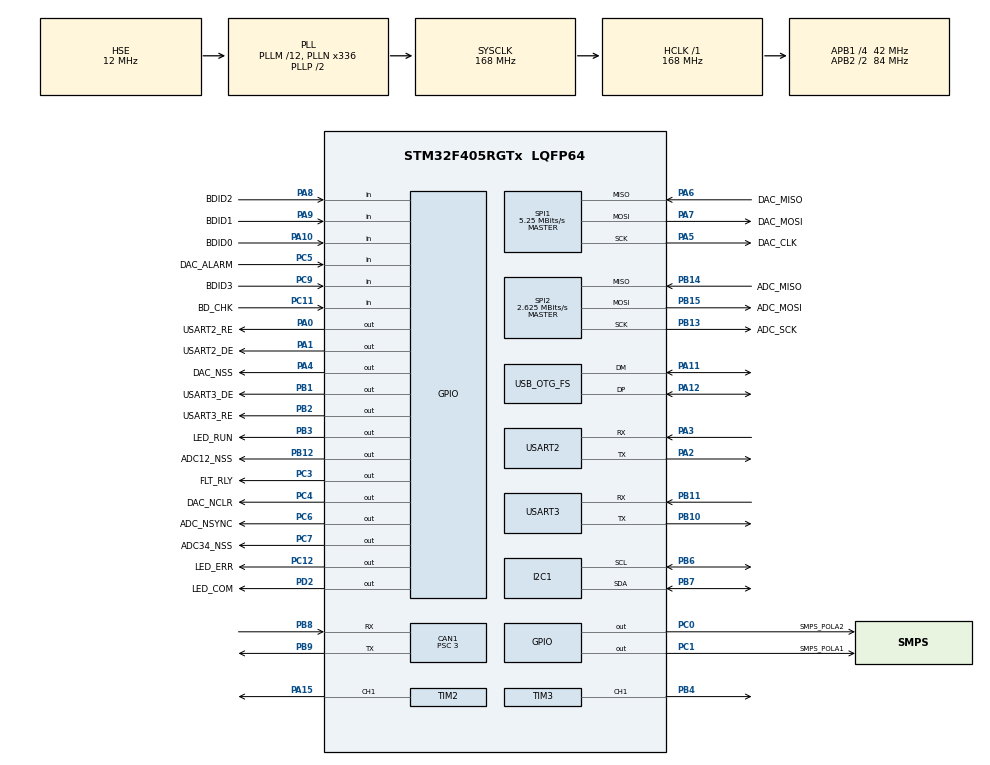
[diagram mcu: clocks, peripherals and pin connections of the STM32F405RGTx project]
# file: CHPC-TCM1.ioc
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ADC1.Channel-0\#ChannelRegularConversion=ADC_CHANNEL_TEMPSENSOR
ADC1.ContinuousConvMode=ENABLE
ADC1.DMAContinuousRequests=ENABLE
ADC1.EOCSelection=ADC_EOC_SEQ_CONV
ADC1.InjNumberOfConversion=0
ADC1.NbrOfConversionFlag=1
ADC1.Rank-0\#ChannelRegularConversion=1
ADC1.SamplingTime-0\#ChannelRegularConversion=ADC_SAMPLETIME_480CYCLES
ADC1.master=1
CAN1.ABOM=ENABLE
CAN1.AWUM=DISABLE
CAN1.BS1=CAN_BS1_11TQ
CAN1.BS2=CAN_BS2_2TQ
CAN1.CalculateBaudRate=1000000
CAN1.CalculateTimeBit=1000
CAN1.CalculateTimeQuantum=71.42857142857143
CAN1.NART=ENABLE
CAN1.Prescaler=3
CAN1.TTCM=DISABLE
Dma.ADC1.4.Direction=DMA_PERIPH_TO_MEMORY
Dma.ADC1.4.FIFOMode=DMA_FIFOMODE_DISABLE
Dma.ADC1.4.Instance=DMA2_Stream0
Dma.ADC1.4.MemDataAlignment=DMA_MDATAALIGN_HALFWORD
Dma.ADC1.4.MemInc=DMA_MINC_ENABLE
Dma.ADC1.4.Mode=DMA_CIRCULAR
Dma.ADC1.4.PeriphDataAlignment=DMA_PDATAALIGN_HALFWORD
Dma.ADC1.4.PeriphInc=DMA_PINC_DISABLE
Dma.ADC1.4.Priority=DMA_PRIORITY_LOW
Dma.Request0=USART2_RX
Dma.Request1=USART2_TX
Dma.Request2=USART3_RX
Dma.Request3=USART3_TX
Dma.Request4=ADC1
Dma.USART2_RX.0.Direction=DMA_PERIPH_TO_MEMORY
Dma.USART2_RX.0.FIFOMode=DMA_FIFOMODE_DISABLE
Dma.USART2_RX.0.Instance=DMA1_Stream5
Dma.USART2_RX.0.MemDataAlignment=DMA_MDATAALIGN_BYTE
Dma.USART2_RX.0.MemInc=DMA_MINC_ENABLE
Dma.USART2_RX.0.Mode=DMA_CIRCULAR
Dma.USART2_RX.0.PeriphDataAlignment=DMA_PDATAALIGN_BYTE
Dma.USART2_RX.0.PeriphInc=DMA_PINC_DISABLE
Dma.USART2_RX.0.Priority=DMA_PRIORITY_LOW
Dma.USART2_TX.1.Direction=DMA_MEMORY_TO_PERIPH
Dma.USART2_TX.1.FIFOMode=DMA_FIFOMODE_DISABLE
Dma.USART2_TX.1.Instance=DMA1_Stream6
Dma.USART2_TX.1.MemDataAlignment=DMA_MDATAALIGN_BYTE
Dma.USART2_TX.1.MemInc=DMA_MINC_ENABLE
Dma.USART2_TX.1.Mode=DMA_NORMAL
Dma.USART2_TX.1.PeriphDataAlignment=DMA_PDATAALIGN_BYTE
Dma.USART2_TX.1.PeriphInc=DMA_PINC_DISABLE
Dma.USART2_TX.1.Priority=DMA_PRIORITY_LOW
Dma.USART3_RX.2.Direction=DMA_PERIPH_TO_MEMORY
Dma.USART3_RX.2.FIFOMode=DMA_FIFOMODE_DISABLE
Dma.USART3_RX.2.Instance=DMA1_Stream1
Dma.USART3_RX.2.MemDataAlignment=DMA_MDATAALIGN_BYTE
Dma.USART3_RX.2.MemInc=DMA_MINC_ENABLE
Dma.USART3_RX.2.Mode=DMA_CIRCULAR
Dma.USART3_RX.2.PeriphDataAlignment=DMA_PDATAALIGN_BYTE
Dma.USART3_RX.2.PeriphInc=DMA_PINC_DISABLE
Dma.USART3_RX.2.Priority=DMA_PRIORITY_LOW
Dma.USART3_TX.3.Direction=DMA_MEMORY_TO_PERIPH
Dma.USART3_TX.3.FIFOMode=DMA_FIFOMODE_DISABLE
Dma.USART3_TX.3.Instance=DMA1_Stream3
Dma.USART3_TX.3.MemDataAlignment=DMA_MDATAALIGN_BYTE
Dma.USART3_TX.3.MemInc=DMA_MINC_ENABLE
Dma.USART3_TX.3.Mode=DMA_NORMAL
Dma.USART3_TX.3.PeriphDataAlignment=DMA_PDATAALIGN_BYTE
Dma.USART3_TX.3.PeriphInc=DMA_PINC_DISABLE
Dma.USART3_TX.3.Priority=DMA_PRIORITY_LOW
I2C1.DutyCycle=I2C_DUTYCYCLE_2
I2C1.I2C_Mode=I2C_Fast
IWDG.Prescaler=IWDG_PRESCALER_4
Mcu.Family=STM32F4
Mcu.Name=STM32F405RGTx
Mcu.Package=LQFP64
NVIC.CAN1_RX0_IRQn=true\:0\:0\:false\:false\:true\:true\:true\:true
NVIC.CAN1_SCE_IRQn=true\:0\:0\:false\:false\:true\:true\:true\:true
NVIC.DMA1_Stream1_IRQn=true\:0\:0\:false\:false\:true\:false\:true\:true
NVIC.DMA1_Stream3_IRQn=true\:0\:0\:false\:false\:true\:false\:true\:true
NVIC.DMA1_Stream5_IRQn=true\:0\:0\:false\:false\:true\:false\:true\:true
NVIC.DMA1_Stream6_IRQn=true\:0\:0\:false\:false\:true\:false\:true\:true
NVIC.DMA2_Stream0_IRQn=true\:0\:0\:false\:false\:true\:false\:true\:true
NVIC.OTG_FS_IRQn=true\:0\:0\:false\:false\:true\:false\:true\:true
NVIC.PriorityGroup=NVIC_PRIORITYGROUP_4
NVIC.SPI1_IRQn=true\:0\:0\:false\:false\:true\:true\:true\:true
NVIC.SPI2_IRQn=true\:0\:0\:false\:false\:true\:true\:true\:true
NVIC.TIM6_DAC_IRQn=true\:15\:0\:false\:false\:true\:false\:true\:true
NVIC.TimeBase=TIM6_DAC_IRQn
NVIC.TimeBaseIP=TIM6
NVIC.USART2_IRQn=true\:0\:0\:false\:false\:true\:true\:true\:true
NVIC.USART3_IRQn=true\:0\:0\:false\:false\:true\:true\:true\:true
PA0-WKUP.GPIO_Label=USART2_RE
PA0-WKUP.GPIO_PuPd=GPIO_NOPULL
PA0-WKUP.GPIO_Speed=GPIO_SPEED_FREQ_VERY_HIGH
PA0-WKUP.PinState=GPIO_PIN_SET
PA0-WKUP.Signal=GPIO_Output
PA1.GPIO_Label=USART2_DE
PA1.GPIO_ModeDefaultOutputPP=GPIO_MODE_OUTPUT_PP
PA1.GPIO_PuPd=GPIO_PULLUP
PA1.GPIO_Speed=GPIO_SPEED_FREQ_VERY_HIGH
PA1.PinState=GPIO_PIN_RESET
PA1.Signal=GPIO_Output
PA10.GPIO_Label=BDID0
PA10.GPIO_PuPd=GPIO_PULLUP
PA10.Signal=GPIO_Input
PA11.Mode=Device_Only
PA11.Signal=USB_OTG_FS_DM
PA12.Mode=Device_Only
PA12.Signal=USB_OTG_FS_DP
PA13.Mode=Serial_Wire
PA13.Signal=SYS_JTMS-SWDIO
PA14.Mode=Serial_Wire
PA14.Signal=SYS_JTCK-SWCLK
PA15.Signal=S_TIM2_CH1_ETR
PA2.Mode=Asynchronous
PA2.Signal=USART2_TX
PA3.Mode=Asynchronous
PA3.Signal=USART2_RX
PA4.GPIO_Label=DAC_NSS
PA4.Signal=GPIO_Output
PA5.GPIO_Label=DAC_CLK
PA5.Mode=Full_Duplex_Master
PA5.Signal=SPI1_SCK
PA6.GPIO_Label=DAC_MISO
PA6.Mode=Full_Duplex_Master
PA6.Signal=SPI1_MISO
PA7.GPIO_Label=DAC_MOSI
PA7.Mode=Full_Duplex_Master
PA7.Signal=SPI1_MOSI
PA8.GPIO_Label=BDID2
PA8.GPIO_PuPd=GPIO_PULLUP
PA8.Signal=GPIO_Input
PA9.GPIO_Label=BDID1
PA9.GPIO_PuPd=GPIO_PULLUP
PA9.Signal=GPIO_Input
PB1.GPIO_Label=USART3_DE
PB1.GPIO_Speed=GPIO_SPEED_FREQ_VERY_HIGH
PB1.PinState=GPIO_PIN_RESET
PB1.Signal=GPIO_Output
PB10.Mode=Asynchronous
PB10.Signal=USART3_TX
PB11.Mode=Asynchronous
PB11.Signal=USART3_RX
PB12.GPIO_Label=ADC12_NSS
PB12.GPIO_PuPd=GPIO_PULLUP
PB12.GPIO_Speed=GPIO_SPEED_FREQ_VERY_HIGH
PB12.PinState=GPIO_PIN_SET
PB12.Signal=GPIO_Output
PB13.GPIO_Label=ADC_SCK
PB13.Mode=Full_Duplex_Master
PB13.Signal=SPI2_SCK
PB14.GPIO_Label=ADC_MISO
PB14.Mode=Full_Duplex_Master
PB14.Signal=SPI2_MISO
PB15.GPIO_Label=ADC_MOSI
PB15.Mode=Full_Duplex_Master
PB15.Signal=SPI2_MOSI
PB2.GPIO_Label=USART3_RE
PB2.GPIO_Speed=GPIO_SPEED_FREQ_VERY_HIGH
PB2.PinState=GPIO_PIN_SET
PB2.Signal=GPIO_Output
PB3.GPIO_Label=LED_RUN
PB3.Signal=GPIO_Output
PB4.Signal=S_TIM3_CH1
PB6.GPIO_Pu=GPIO_PULLUP
PB6.Mode=I2C
PB6.Signal=I2C1_SCL
PB7.GPIO_Pu=GPIO_PULLUP
PB7.Mode=I2C
PB7.Signal=I2C1_SDA
PB8.Mode=CAN_Activate
PB8.Signal=CAN1_RX
PB9.Mode=CAN_Activate
PB9.Signal=CAN1_TX
PC0.GPIO_Label=SMPS_POLA2
PC0.Signal=GPIO_Output
PC1.GPIO_Label=SMPS_POLA1
PC1.Signal=GPIO_Output
PC11.GPIO_Label=BD_CHK
PC11.GPIO_PuPd=GPIO_PULLUP
PC11.Signal=GPIO_Input
PC12.GPIO_Label=LED_ERR
PC12.Signal=GPIO_Output
PC3.GPIO_Label=FLT_RLY
PC3.Signal=GPIO_Output
PC4.GPIO_Label=DAC_NCLR
PC4.Signal=GPIO_Output
PC5.GPIO_Label=DAC_ALARM
PC5.GPIO_PuPd=GPIO_PULLUP
PC5.Signal=GPIO_Input
PC6.GPIO_Label=ADC_NSYNC
PC6.GPIO_PuPd=GPIO_PULLUP
PC6.GPIO_Speed=GPIO_SPEED_FREQ_VERY_HIGH
PC6.PinState=GPIO_PIN_SET
PC6.Signal=GPIO_Output
PC7.GPIO_Label=ADC34_NSS
PC7.GPIO_PuPd=GPIO_PULLUP
PC7.GPIO_Speed=GPIO_SPEED_FREQ_VERY_HIGH
PC7.PinState=GPIO_PIN_SET
PC7.Signal=GPIO_Output
PC9.GPIO_Label=BDID3
PC9.GPIO_PuPd=GPIO_PULLUP
PC9.Signal=GPIO_Input
PD2.GPIO_Label=LED_COM
PD2.Signal=GPIO_Output
PH0-OSC_IN.Mode=HSE-External-Oscillator
PH0-OSC_IN.Signal=RCC_OSC_IN
PH1-OSC_OUT.Mode=HSE-External-Oscillator
PH1-OSC_OUT.Signal=RCC_OSC_OUT
ProjectManager.HeapSize=0x800
ProjectManager.StackSize=0x1000
ProjectManager.TargetToolchain=STM32CubeIDE
RCC.48MHZClocksFreq_Value=48000000
RCC.AHBFreq_Value=168000000
RCC.APB1CLKDivider=RCC_HCLK_DIV4
RCC.APB1Freq_Value=42000000
RCC.APB1TimFreq_Value=84000000
RCC.APB2CLKDivider=RCC_HCLK_DIV2
RCC.APB2Freq_Value=84000000
RCC.APB2TimFreq_Value=168000000
RCC.CortexFreq_Value=168000000
RCC.EnbaleCSS=true
RCC.HCLKFreq_Value=168000000
RCC.HSE_VALUE=12000000
RCC.HSI_VALUE=16000000
RCC.INSTRUCTION_CACHE_ENABLE=1
RCC.LSE_VALUE=32768
RCC.PLLM=12
RCC.PLLN=336
RCC.PLLQ=7
RCC.PREFETCH_ENABLE=1
RCC.SYSCLKFreq_VALUE=168000000
RCC.SYSCLKSource=RCC_SYSCLKSOURCE_PLLCLK
RCC.VCOOutputFreq_Value=336000000
SH.S_TIM2_CH1_ETR.0=TIM2_CH1,PWM Generation1 CH1
SH.S_TIM3_CH1.0=TIM3_CH1,PWM Generation1 CH1
SPI1.BaudRatePrescaler=SPI_BAUDRATEPRESCALER_16
SPI1.CLKPhase=SPI_PHASE_2EDGE
SPI1.CLKPolarity=SPI_POLARITY_HIGH
SPI1.CalculateBaudRate=5.25 MBits/s
SPI1.Direction=SPI_DIRECTION_2LINES
SPI1.Mode=SPI_MODE_MASTER
SPI1.VirtualType=VM_MASTER
SPI2.BaudRatePrescaler=SPI_BAUDRATEPRESCALER_16
SPI2.CLKPhase=SPI_PHASE_2EDGE
SPI2.CLKPolarity=SPI_POLARITY_HIGH
SPI2.CalculateBaudRate=2.625 MBits/s
SPI2.Direction=SPI_DIRECTION_2LINES
SPI2.Mode=SPI_MODE_MASTER
SPI2.VirtualType=VM_MASTER
TIM2.Channel-PWM\ Generation1\ CH1=TIM_CHANNEL_1
TIM3.Channel-PWM\ Generation1\ CH1=TIM_CHANNEL_1
TIM3.OCMode_PWM-PWM\ Generation1\ CH1=TIM_OCMODE_PWM1
USART2.VirtualMode=VM_ASYNC
USART3.VirtualMode=VM_ASYNC
USB_DEVICE.CLASS_NAME_FS=CDC
USB_DEVICE.VirtualMode-CDC_FS=Cdc
USB_DEVICE.VirtualModeFS=Cdc_FS
USB_OTG_FS.VirtualMode=Device_Only
VP_ADC1_TempSens_Input.Mode=IN-TempSens
VP_IWDG_VS_IWDG.Mode=IWDG_Activate
VP_RNG_VS_RNG.Mode=RNG_Activate
VP_SYS_VS_tim6.Mode=TIM6
VP_TIM2_VS_ClockSourceINT.Mode=Internal
VP_TIM3_VS_ClockSourceINT.Mode=Internal
VP_USB_DEVICE_VS_USB_DEVICE_CDC_FS.Mode=CDC_FS
board=custom

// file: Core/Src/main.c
/* USER CODE BEGIN Header */
/**
  ******************************************************************************
  * @file           : main.c
  * @brief          : Main program body
  ******************************************************************************
  * @attention
  *
  * Copyright (c) 2023 STMicroelectronics.
  * All rights reserved.
  *
  * This software is licensed under terms that can be found in the LICENSE file
  * in the root directory of this software component.
  * If no LICENSE file comes with this software, it is provided AS-IS.
  *
  ******************************************************************************
  */
/* USER CODE END Header */
#include "main.h"
#include "usb_device.h"

ADC_HandleTypeDef hadc1;
DMA_HandleTypeDef hdma_adc1;

CAN_HandleTypeDef hcan1;

I2C_HandleTypeDef hi2c1;

IWDG_HandleTypeDef hiwdg;

RNG_HandleTypeDef hrng;

SPI_HandleTypeDef hspi1;
SPI_HandleTypeDef hspi2;

TIM_HandleTypeDef htim2;
TIM_HandleTypeDef htim3;

UART_HandleTypeDef huart2;
UART_HandleTypeDef huart3;
DMA_HandleTypeDef hdma_usart2_rx;
DMA_HandleTypeDef hdma_usart2_tx;
DMA_HandleTypeDef hdma_usart3_rx;
DMA_HandleTypeDef hdma_usart3_tx;

void SystemClock_Config(void);
static void MX_GPIO_Init(void);
static void MX_DMA_Init(void);
static void MX_CAN1_Init(void);
static void MX_I2C1_Init(void);
static void MX_SPI1_Init(void);
static void MX_USART2_UART_Init(void);
static void MX_USART3_UART_Init(void);
static void MX_SPI2_Init(void);
static void MX_TIM3_Init(void);
static void MX_ADC1_Init(void);
static void MX_TIM2_Init(void);
static void MX_RNG_Init(void);
static void MX_IWDG_Init(void);

int main(void)
{

  /* USER CODE BEGIN 1 */
  Sys.GetResetCause();
  /* USER CODE END 1 */

  /* MCU Configuration--------------------------------------------------------*/

  /* Reset of all peripherals, Initializes the Flash interface and the Systick. */
  HAL_Init();

  /* USER CODE BEGIN Init */

#if FLASH_READ_PROTECTION
  /***** Flash Read Protection *****/
  /* Warning */
  /* Debugging cannot be initiated before erasing the flash memory if RDP Protection is enabled */
  FLASH_OBProgramInitTypeDef flash;
  HAL_FLASHEx_OBGetConfig( &flash );
  if( flash.RDPLevel == OB_RDP_LEVEL_0 )
  {
    HAL_FLASH_OB_Unlock();
    flash.OptionType = OPTIONBYTE_RDP;
    flash.RDPLevel = OB_RDP_LEVEL_1;
    HAL_FLASHEx_OBProgram(&flash);
    HAL_FLASH_OB_Launch();
    HAL_FLASH_OB_Lock();
  }
  /***** Flash Read Protection *****/
#endif

  /* USER CODE END Init */

  /* Configure the system clock */
  SystemClock_Config();

  /* Initialize all configured peripherals */
  MX_GPIO_Init();
  MX_DMA_Init();
  MX_CAN1_Init();
  MX_I2C1_Init();
  MX_SPI1_Init();
  MX_USART2_UART_Init();
  MX_USART3_UART_Init();
  MX_USB_DEVICE_Init();
  MX_SPI2_Init();
  MX_TIM3_Init();
  MX_ADC1_Init();
  MX_TIM2_Init();
  MX_RNG_Init();
  MX_IWDG_Init();
  /* USER CODE BEGIN 2 */
  UserApplication_Init();
  /* USER CODE END 2 */

  /* Infinite loop */
  /* USER CODE BEGIN WHILE */
  while (1)
  {
    HAL_IWDG_Refresh( &hiwdg );

    UserApplication();
    /* USER CODE END WHILE */

  }
}

void SystemClock_Config(void)
{
  RCC_OscInitTypeDef RCC_OscInitStruct = {0};
  RCC_ClkInitTypeDef RCC_ClkInitStruct = {0};

  /** Configure the main internal regulator output voltage
  */
  __HAL_RCC_PWR_CLK_ENABLE();
  __HAL_PWR_VOLTAGESCALING_CONFIG(PWR_REGULATOR_VOLTAGE_SCALE1);

  /** Initializes the RCC Oscillators according to the specified parameters
  * in the RCC_OscInitTypeDef structure.
  */
  RCC_OscInitStruct.OscillatorType = RCC_OSCILLATORTYPE_LSI|RCC_OSCILLATORTYPE_HSE;
  RCC_OscInitStruct.HSEState = RCC_HSE_ON;
  RCC_OscInitStruct.LSIState = RCC_LSI_ON;
  RCC_OscInitStruct.PLL.PLLState = RCC_PLL_ON;
  RCC_OscInitStruct.PLL.PLLSource = RCC_PLLSOURCE_HSE;
  RCC_OscInitStruct.PLL.PLLM = 12;
  RCC_OscInitStruct.PLL.PLLN = 336;
  RCC_OscInitStruct.PLL.PLLP = RCC_PLLP_DIV2;
  RCC_OscInitStruct.PLL.PLLQ = 7;
  if (HAL_RCC_OscConfig(&RCC_OscInitStruct) != HAL_OK)
  {
    Error_Handler();
  }

  /** Initializes the CPU, AHB and APB buses clocks
  */
  RCC_ClkInitStruct.ClockType = RCC_CLOCKTYPE_HCLK|RCC_CLOCKTYPE_SYSCLK
                              |RCC_CLOCKTYPE_PCLK1|RCC_CLOCKTYPE_PCLK2;
  RCC_ClkInitStruct.SYSCLKSource = RCC_SYSCLKSOURCE_PLLCLK;
  RCC_ClkInitStruct.AHBCLKDivider = RCC_SYSCLK_DIV1;
  RCC_ClkInitStruct.APB1CLKDivider = RCC_HCLK_DIV4;
  RCC_ClkInitStruct.APB2CLKDivider = RCC_HCLK_DIV2;

  if (HAL_RCC_ClockConfig(&RCC_ClkInitStruct, FLASH_LATENCY_5) != HAL_OK)
  {
    Error_Handler();
  }

  /** Enables the Clock Security System
  */
  HAL_RCC_EnableCSS();
}

static void MX_ADC1_Init(void)
{

  ADC_ChannelConfTypeDef sConfig = {0};

  /** Configure the global features of the ADC (Clock, Resolution, Data Alignment and number of conversion)
  */
  hadc1.Instance = ADC1;
  hadc1.Init.ClockPrescaler = ADC_CLOCK_SYNC_PCLK_DIV4;
  hadc1.Init.Resolution = ADC_RESOLUTION_12B;
  hadc1.Init.ScanConvMode = DISABLE;
  hadc1.Init.ContinuousConvMode = ENABLE;
  hadc1.Init.DiscontinuousConvMode = DISABLE;
  hadc1.Init.ExternalTrigConvEdge = ADC_EXTERNALTRIGCONVEDGE_NONE;
  hadc1.Init.ExternalTrigConv = ADC_SOFTWARE_START;
  hadc1.Init.DataAlign = ADC_DATAALIGN_RIGHT;
  hadc1.Init.NbrOfConversion = 1;
  hadc1.Init.DMAContinuousRequests = ENABLE;
  hadc1.Init.EOCSelection = ADC_EOC_SEQ_CONV;
  if (HAL_ADC_Init(&hadc1) != HAL_OK)
  {
    Error_Handler();
  }

  /** Configure for the selected ADC regular channel its corresponding rank in the sequencer and its sample time.
  */
  sConfig.Channel = ADC_CHANNEL_TEMPSENSOR;
  sConfig.Rank = 1;
  sConfig.SamplingTime = ADC_SAMPLETIME_480CYCLES;
  if (HAL_ADC_ConfigChannel(&hadc1, &sConfig) != HAL_OK)
  {
    Error_Handler();
  }

}

static void MX_CAN1_Init(void)
{

  hcan1.Instance = CAN1;
  hcan1.Init.Prescaler = 3;
  hcan1.Init.Mode = CAN_MODE_NORMAL;
  hcan1.Init.SyncJumpWidth = CAN_SJW_1TQ;
  hcan1.Init.TimeSeg1 = CAN_BS1_11TQ;
  hcan1.Init.TimeSeg2 = CAN_BS2_2TQ;
  hcan1.Init.TimeTriggeredMode = DISABLE;
  hcan1.Init.AutoBusOff = ENABLE;
  hcan1.Init.AutoWakeUp = DISABLE;
  hcan1.Init.AutoRetransmission = ENABLE;
  hcan1.Init.ReceiveFifoLocked = DISABLE;
  hcan1.Init.TransmitFifoPriority = DISABLE;
  if (HAL_CAN_Init(&hcan1) != HAL_OK)
  {
    Error_Handler();
  }

}

static void MX_I2C1_Init(void)
{

  hi2c1.Instance = I2C1;
  hi2c1.Init.ClockSpeed = 400000;
  hi2c1.Init.DutyCycle = I2C_DUTYCYCLE_2;
  hi2c1.Init.OwnAddress1 = 0;
  hi2c1.Init.AddressingMode = I2C_ADDRESSINGMODE_7BIT;
  hi2c1.Init.DualAddressMode = I2C_DUALADDRESS_DISABLE;
  hi2c1.Init.OwnAddress2 = 0;
  hi2c1.Init.GeneralCallMode = I2C_GENERALCALL_DISABLE;
  hi2c1.Init.NoStretchMode = I2C_NOSTRETCH_DISABLE;
  if (HAL_I2C_Init(&hi2c1) != HAL_OK)
  {
    Error_Handler();
  }

}

static void MX_IWDG_Init(void)
{

  hiwdg.Instance = IWDG;
  hiwdg.Init.Prescaler = IWDG_PRESCALER_4;
  hiwdg.Init.Reload = 4095;
  if (HAL_IWDG_Init(&hiwdg) != HAL_OK)
  {
    Error_Handler();
  }

}

static void MX_RNG_Init(void)
{

  hrng.Instance = RNG;
  if (HAL_RNG_Init(&hrng) != HAL_OK)
  {
    Error_Handler();
  }

}

static void MX_SPI1_Init(void)
{

  /* SPI1 parameter configuration*/
  hspi1.Instance = SPI1;
  hspi1.Init.Mode = SPI_MODE_MASTER;
  hspi1.Init.Direction = SPI_DIRECTION_2LINES;
  hspi1.Init.DataSize = SPI_DATASIZE_8BIT;
  hspi1.Init.CLKPolarity = SPI_POLARITY_HIGH;
  hspi1.Init.CLKPhase = SPI_PHASE_2EDGE;
  hspi1.Init.NSS = SPI_NSS_SOFT;
  hspi1.Init.BaudRatePrescaler = SPI_BAUDRATEPRESCALER_16;
  hspi1.Init.FirstBit = SPI_FIRSTBIT_MSB;
  hspi1.Init.TIMode = SPI_TIMODE_DISABLE;
  hspi1.Init.CRCCalculation = SPI_CRCCALCULATION_DISABLE;
  hspi1.Init.CRCPolynomial = 10;
  if (HAL_SPI_Init(&hspi1) != HAL_OK)
  {
    Error_Handler();
  }

}

static void MX_SPI2_Init(void)
{

  /* SPI2 parameter configuration*/
  hspi2.Instance = SPI2;
  hspi2.Init.Mode = SPI_MODE_MASTER;
  hspi2.Init.Direction = SPI_DIRECTION_2LINES;
  hspi2.Init.DataSize = SPI_DATASIZE_8BIT;
  hspi2.Init.CLKPolarity = SPI_POLARITY_HIGH;
  hspi2.Init.CLKPhase = SPI_PHASE_2EDGE;
  hspi2.Init.NSS = SPI_NSS_SOFT;
  hspi2.Init.BaudRatePrescaler = SPI_BAUDRATEPRESCALER_16;
  hspi2.Init.FirstBit = SPI_FIRSTBIT_MSB;
  hspi2.Init.TIMode = SPI_TIMODE_DISABLE;
  hspi2.Init.CRCCalculation = SPI_CRCCALCULATION_DISABLE;
  hspi2.Init.CRCPolynomial = 10;
  if (HAL_SPI_Init(&hspi2) != HAL_OK)
  {
    Error_Handler();
  }

}

static void MX_TIM2_Init(void)
{

  TIM_ClockConfigTypeDef sClockSourceConfig = {0};
  TIM_MasterConfigTypeDef sMasterConfig = {0};
  TIM_OC_InitTypeDef sConfigOC = {0};

  htim2.Instance = TIM2;
  htim2.Init.Prescaler = 0;
  htim2.Init.CounterMode = TIM_COUNTERMODE_UP;
  htim2.Init.Period = 4294967295;
  htim2.Init.ClockDivision = TIM_CLOCKDIVISION_DIV1;
  htim2.Init.AutoReloadPreload = TIM_AUTORELOAD_PRELOAD_DISABLE;
  if (HAL_TIM_Base_Init(&htim2) != HAL_OK)
  {
    Error_Handler();
  }
  sClockSourceConfig.ClockSource = TIM_CLOCKSOURCE_INTERNAL;
  if (HAL_TIM_ConfigClockSource(&htim2, &sClockSourceConfig) != HAL_OK)
  {
    Error_Handler();
  }
  if (HAL_TIM_PWM_Init(&htim2) != HAL_OK)
  {
    Error_Handler();
  }
  sMasterConfig.MasterOutputTrigger = TIM_TRGO_RESET;
  sMasterConfig.MasterSlaveMode = TIM_MASTERSLAVEMODE_DISABLE;
  if (HAL_TIMEx_MasterConfigSynchronization(&htim2, &sMasterConfig) != HAL_OK)
  {
    Error_Handler();
  }
  sConfigOC.OCMode = TIM_OCMODE_PWM1;
  sConfigOC.Pulse = 0;
  sConfigOC.OCPolarity = TIM_OCPOLARITY_HIGH;
  sConfigOC.OCFastMode = TIM_OCFAST_DISABLE;
  if (HAL_TIM_PWM_ConfigChannel(&htim2, &sConfigOC, TIM_CHANNEL_1) != HAL_OK)
  {
    Error_Handler();
  }
  HAL_TIM_MspPostInit(&htim2);

}

static void MX_TIM3_Init(void)
{

  TIM_ClockConfigTypeDef sClockSourceConfig = {0};
  TIM_MasterConfigTypeDef sMasterConfig = {0};
  TIM_OC_InitTypeDef sConfigOC = {0};

  htim3.Instance = TIM3;
  htim3.Init.Prescaler = 0;
  htim3.Init.CounterMode = TIM_COUNTERMODE_UP;
  htim3.Init.Period = 65535;
  htim3.Init.ClockDivision = TIM_CLOCKDIVISION_DIV1;
  htim3.Init.AutoReloadPreload = TIM_AUTORELOAD_PRELOAD_DISABLE;
  if (HAL_TIM_Base_Init(&htim3) != HAL_OK)
  {
    Error_Handler();
  }
  sClockSourceConfig.ClockSource = TIM_CLOCKSOURCE_INTERNAL;
  if (HAL_TIM_ConfigClockSource(&htim3, &sClockSourceConfig) != HAL_OK)
  {
    Error_Handler();
  }
  if (HAL_TIM_PWM_Init(&htim3) != HAL_OK)
  {
    Error_Handler();
  }
  sMasterConfig.MasterOutputTrigger = TIM_TRGO_RESET;
  sMasterConfig.MasterSlaveMode = TIM_MASTERSLAVEMODE_DISABLE;
  if (HAL_TIMEx_MasterConfigSynchronization(&htim3, &sMasterConfig) != HAL_OK)
  {
    Error_Handler();
  }
  sConfigOC.OCMode = TIM_OCMODE_PWM1;
  sConfigOC.Pulse = 0;
  sConfigOC.OCPolarity = TIM_OCPOLARITY_HIGH;
  sConfigOC.OCFastMode = TIM_OCFAST_DISABLE;
  if (HAL_TIM_PWM_ConfigChannel(&htim3, &sConfigOC, TIM_CHANNEL_1) != HAL_OK)
  {
    Error_Handler();
  }
  HAL_TIM_MspPostInit(&htim3);

}

static void MX_USART2_UART_Init(void)
{

  huart2.Instance = USART2;
  huart2.Init.BaudRate = 115200;
  huart2.Init.WordLength = UART_WORDLENGTH_8B;
  huart2.Init.StopBits = UART_STOPBITS_1;
  huart2.Init.Parity = UART_PARITY_NONE;
  huart2.Init.Mode = UART_MODE_TX_RX;
  huart2.Init.HwFlowCtl = UART_HWCONTROL_NONE;
  huart2.Init.OverSampling = UART_OVERSAMPLING_16;
  if (HAL_UART_Init(&huart2) != HAL_OK)
  {
    Error_Handler();
  }

}

static void MX_USART3_UART_Init(void)
{

  huart3.Instance = USART3;
  huart3.Init.BaudRate = 115200;
  huart3.Init.WordLength = UART_WORDLENGTH_8B;
  huart3.Init.StopBits = UART_STOPBITS_1;
  huart3.Init.Parity = UART_PARITY_NONE;
  huart3.Init.Mode = UART_MODE_TX_RX;
  huart3.Init.HwFlowCtl = UART_HWCONTROL_NONE;
  huart3.Init.OverSampling = UART_OVERSAMPLING_16;
  if (HAL_UART_Init(&huart3) != HAL_OK)
  {
    Error_Handler();
  }

}

static void MX_DMA_Init(void)
{

  /* DMA controller clock enable */
  __HAL_RCC_DMA1_CLK_ENABLE();
  __HAL_RCC_DMA2_CLK_ENABLE();

  /* DMA interrupt init */
  /* DMA1_Stream1_IRQn interrupt configuration */
  HAL_NVIC_SetPriority(DMA1_Stream1_IRQn, 0, 0);
  HAL_NVIC_EnableIRQ(DMA1_Stream1_IRQn);
  /* DMA1_Stream3_IRQn interrupt configuration */
  HAL_NVIC_SetPriority(DMA1_Stream3_IRQn, 0, 0);
  HAL_NVIC_EnableIRQ(DMA1_Stream3_IRQn);
  /* DMA1_Stream5_IRQn interrupt configuration */
  HAL_NVIC_SetPriority(DMA1_Stream5_IRQn, 0, 0);
  HAL_NVIC_EnableIRQ(DMA1_Stream5_IRQn);
  /* DMA1_Stream6_IRQn interrupt configuration */
  HAL_NVIC_SetPriority(DMA1_Stream6_IRQn, 0, 0);
  HAL_NVIC_EnableIRQ(DMA1_Stream6_IRQn);
  /* DMA2_Stream0_IRQn interrupt configuration */
  HAL_NVIC_SetPriority(DMA2_Stream0_IRQn, 0, 0);
  HAL_NVIC_EnableIRQ(DMA2_Stream0_IRQn);

}

static void MX_GPIO_Init(void)
{
  GPIO_InitTypeDef GPIO_InitStruct = {0};

  /* GPIO Ports Clock Enable */
  __HAL_RCC_GPIOH_CLK_ENABLE();
  __HAL_RCC_GPIOC_CLK_ENABLE();
  __HAL_RCC_GPIOA_CLK_ENABLE();
  __HAL_RCC_GPIOB_CLK_ENABLE();
  __HAL_RCC_GPIOD_CLK_ENABLE();

  /*Configure GPIO pin Output Level */
  HAL_GPIO_WritePin(GPIOC, SMPS_POLA2_Pin|SMPS_POLA1_Pin|FLT_RLY_Pin|DAC_NCLR_Pin
                          |LED_ERR_Pin, GPIO_PIN_RESET);

  /*Configure GPIO pin Output Level */
  HAL_GPIO_WritePin(USART2_RE_GPIO_Port, USART2_RE_Pin, GPIO_PIN_SET);

  /*Configure GPIO pin Output Level */
  HAL_GPIO_WritePin(GPIOA, USART2_DE_Pin|DAC_NSS_Pin, GPIO_PIN_RESET);

  /*Configure GPIO pin Output Level */
  HAL_GPIO_WritePin(GPIOB, USART3_DE_Pin|LED_RUN_Pin, GPIO_PIN_RESET);

  /*Configure GPIO pin Output Level */
  HAL_GPIO_WritePin(GPIOB, USART3_RE_Pin|ADC12_NSS_Pin, GPIO_PIN_SET);

  /*Configure GPIO pin Output Level */
  HAL_GPIO_WritePin(GPIOC, ADC_NSYNC_Pin|ADC34_NSS_Pin, GPIO_PIN_SET);

  /*Configure GPIO pin Output Level */
  HAL_GPIO_WritePin(LED_COM_GPIO_Port, LED_COM_Pin, GPIO_PIN_RESET);

  /*Configure GPIO pins : SMPS_POLA2_Pin SMPS_POLA1_Pin FLT_RLY_Pin DAC_NCLR_Pin
                           LED_ERR_Pin */
  GPIO_InitStruct.Pin = SMPS_POLA2_Pin|SMPS_POLA1_Pin|FLT_RLY_Pin|DAC_NCLR_Pin
                          |LED_ERR_Pin;
  GPIO_InitStruct.Mode = GPIO_MODE_OUTPUT_PP;
  GPIO_InitStruct.Pull = GPIO_NOPULL;
  GPIO_InitStruct.Speed = GPIO_SPEED_FREQ_LOW;
  HAL_GPIO_Init(GPIOC, &GPIO_InitStruct);

  /*Configure GPIO pin : USART2_RE_Pin */
  GPIO_InitStruct.Pin = USART2_RE_Pin;
  GPIO_InitStruct.Mode = GPIO_MODE_OUTPUT_PP;
  GPIO_InitStruct.Pull = GPIO_NOPULL;
  GPIO_InitStruct.Speed = GPIO_SPEED_FREQ_VERY_HIGH;
  HAL_GPIO_Init(USART2_RE_GPIO_Port, &GPIO_InitStruct);

  /*Configure GPIO pin : USART2_DE_Pin */
  GPIO_InitStruct.Pin = USART2_DE_Pin;
  GPIO_InitStruct.Mode = GPIO_MODE_OUTPUT_PP;
  GPIO_InitStruct.Pull = GPIO_PULLUP;
  GPIO_InitStruct.Speed = GPIO_SPEED_FREQ_VERY_HIGH;
  HAL_GPIO_Init(USART2_DE_GPIO_Port, &GPIO_InitStruct);

  /*Configure GPIO pin : DAC_NSS_Pin */
  GPIO_InitStruct.Pin = DAC_NSS_Pin;
  GPIO_InitStruct.Mode = GPIO_MODE_OUTPUT_PP;
  GPIO_InitStruct.Pull = GPIO_NOPULL;
  GPIO_InitStruct.Speed = GPIO_SPEED_FREQ_LOW;
  HAL_GPIO_Init(DAC_NSS_GPIO_Port, &GPIO_InitStruct);

  /*Configure GPIO pins : DAC_ALARM_Pin BDID3_Pin BD_CHK_Pin */
  GPIO_InitStruct.Pin = DAC_ALARM_Pin|BDID3_Pin|BD_CHK_Pin;
  GPIO_InitStruct.Mode = GPIO_MODE_INPUT;
  GPIO_InitStruct.Pull = GPIO_PULLUP;
  HAL_GPIO_Init(GPIOC, &GPIO_InitStruct);

  /*Configure GPIO pins : USART3_DE_Pin USART3_RE_Pin */
  GPIO_InitStruct.Pin = USART3_DE_Pin|USART3_RE_Pin;
  GPIO_InitStruct.Mode = GPIO_MODE_OUTPUT_PP;
  GPIO_InitStruct.Pull = GPIO_NOPULL;
  GPIO_InitStruct.Speed = GPIO_SPEED_FREQ_VERY_HIGH;
  HAL_GPIO_Init(GPIOB, &GPIO_InitStruct);

  /*Configure GPIO pin : ADC12_NSS_Pin */
  GPIO_InitStruct.Pin = ADC12_NSS_Pin;
  GPIO_InitStruct.Mode = GPIO_MODE_OUTPUT_PP;
  GPIO_InitStruct.Pull = GPIO_PULLUP;
  GPIO_InitStruct.Speed = GPIO_SPEED_FREQ_VERY_HIGH;
  HAL_GPIO_Init(ADC12_NSS_GPIO_Port, &GPIO_InitStruct);

  /*Configure GPIO pins : ADC_NSYNC_Pin ADC34_NSS_Pin */
  GPIO_InitStruct.Pin = ADC_NSYNC_Pin|ADC34_NSS_Pin;
  GPIO_InitStruct.Mode = GPIO_MODE_OUTPUT_PP;
  GPIO_InitStruct.Pull = GPIO_PULLUP;
  GPIO_InitStruct.Speed = GPIO_SPEED_FREQ_VERY_HIGH;
  HAL_GPIO_Init(GPIOC, &GPIO_InitStruct);

  /*Configure GPIO pins : BDID2_Pin BDID1_Pin BDID0_Pin */
  GPIO_InitStruct.Pin = BDID2_Pin|BDID1_Pin|BDID0_Pin;
  GPIO_InitStruct.Mode = GPIO_MODE_INPUT;
  GPIO_InitStruct.Pull = GPIO_PULLUP;
  HAL_GPIO_Init(GPIOA, &GPIO_InitStruct);

  /*Configure GPIO pin : LED_COM_Pin */
  GPIO_InitStruct.Pin = LED_COM_Pin;
  GPIO_InitStruct.Mode = GPIO_MODE_OUTPUT_PP;
  GPIO_InitStruct.Pull = GPIO_NOPULL;
  GPIO_InitStruct.Speed = GPIO_SPEED_FREQ_LOW;
  HAL_GPIO_Init(LED_COM_GPIO_Port, &GPIO_InitStruct);

  /*Configure GPIO pin : LED_RUN_Pin */
  GPIO_InitStruct.Pin = LED_RUN_Pin;
  GPIO_InitStruct.Mode = GPIO_MODE_OUTPUT_PP;
  GPIO_InitStruct.Pull = GPIO_NOPULL;
  GPIO_InitStruct.Speed = GPIO_SPEED_FREQ_LOW;
  HAL_GPIO_Init(LED_RUN_GPIO_Port, &GPIO_InitStruct);

}

void HAL_TIM_PeriodElapsedCallback(TIM_HandleTypeDef *htim)
{
  if (htim->Instance == TIM6) {
    HAL_IncTick();
  }
}

void Error_Handler(void)
{
  /* USER CODE BEGIN Error_Handler_Debug */
  /* User can add his own implementation to report the HAL error return state */
  __disable_irq();
  while (1)
  {
    __NOP();
  }
  /* USER CODE END Error_Handler_Debug */
}
